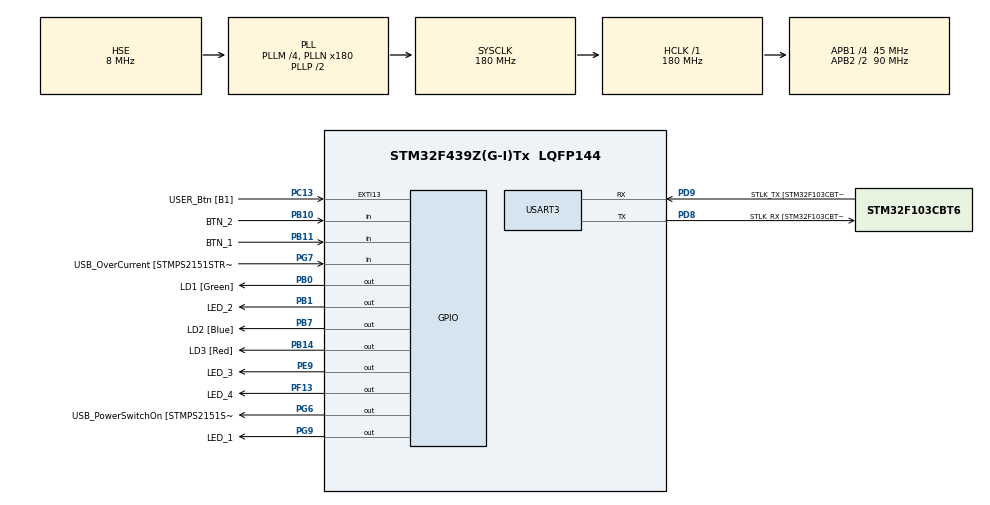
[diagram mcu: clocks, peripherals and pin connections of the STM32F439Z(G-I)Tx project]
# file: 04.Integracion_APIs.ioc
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Mcu.Family=STM32F4
Mcu.Name=STM32F439Z(G-I)Tx
Mcu.Package=LQFP144
NVIC.PriorityGroup=NVIC_PRIORITYGROUP_4
PA13.GPIO_Label=TMS
PA13.Mode=Serial_Wire
PA13.Signal=SYS_JTMS-SWDIO
PA14.GPIO_Label=TCK
PA14.Mode=Serial_Wire
PA14.Signal=SYS_JTCK-SWCLK
PB0.GPIO_Label=LD1 [Green]
PB0.Signal=GPIO_Output
PB1.GPIO_Label=LED_2
PB1.Signal=GPIO_Output
PB10.GPIO_Label=BTN_2
PB10.GPIO_PuPd=GPIO_PULLUP
PB10.Signal=GPIO_Input
PB11.GPIO_Label=BTN_1
PB11.GPIO_PuPd=GPIO_PULLUP
PB11.Signal=GPIO_Input
PB14.GPIO_Label=LD3 [Red]
PB14.Signal=GPIO_Output
PB7.GPIO_Label=LD2 [Blue]
PB7.Signal=GPIO_Output
PC13.GPIO_Label=USER_Btn [B1]
PC13.Signal=GPXTI13
PC14/OSC32_IN.Mode=LSE-External-Oscillator
PC14/OSC32_IN.Signal=RCC_OSC32_IN
PC15/OSC32_OUT.Mode=LSE-External-Oscillator
PC15/OSC32_OUT.Signal=RCC_OSC32_OUT
PD8.GPIO_Label=STLK_RX [STM32F103CBT6_PA3]
PD8.Mode=Asynchronous
PD8.Signal=USART3_TX
PD9.GPIO_Label=STLK_TX [STM32F103CBT6_PA2]
PD9.Mode=Asynchronous
PD9.Signal=USART3_RX
PE9.GPIO_Label=LED_3
PE9.Signal=GPIO_Output
PF13.GPIO_Label=LED_4
PF13.Signal=GPIO_Output
PG6.GPIO_Label=USB_PowerSwitchOn [STMPS2151STR_EN]
PG6.Signal=GPIO_Output
PG7.GPIO_Label=USB_OverCurrent [STMPS2151STR_FAULT]
PG7.Signal=GPIO_Input
PG9.GPIO_Label=LED_1
PG9.Signal=GPIO_Output
PH0/OSC_IN.GPIO_Label=MCO [STM32F103CBT6_PA8]
PH0/OSC_IN.Mode=HSE-External-Oscillator
PH0/OSC_IN.Signal=RCC_OSC_IN
PH1/OSC_OUT.Mode=HSE-External-Oscillator
PH1/OSC_OUT.Signal=RCC_OSC_OUT
ProjectManager.HeapSize=0x200
ProjectManager.StackSize=0x400
ProjectManager.TargetToolchain=STM32CubeIDE
RCC.48MHZClocksFreq_Value=51428571.428571425
RCC.AHBFreq_Value=180000000
RCC.APB1CLKDivider=RCC_HCLK_DIV4
RCC.APB1Freq_Value=45000000
RCC.APB1TimFreq_Value=90000000
RCC.APB2CLKDivider=RCC_HCLK_DIV2
RCC.APB2Freq_Value=90000000
RCC.APB2TimFreq_Value=180000000
RCC.CortexFreq_Value=180000000
RCC.HCLKFreq_Value=180000000
RCC.HSE_VALUE=8000000
RCC.HSI_VALUE=16000000
RCC.PLLM=4
RCC.PLLMUL=RCC_PLL_MUL9
RCC.PLLN=180
RCC.PLLQ=7
RCC.PLLSourceVirtual=RCC_PLLSOURCE_HSE
RCC.PRESCALERUSB=RCC_USBCLKSOURCE_PLL_DIV1_5
RCC.SYSCLKFreq_VALUE=180000000
RCC.SYSCLKSource=RCC_SYSCLKSOURCE_PLLCLK
RCC.SYSCLKSourceVirtual=RCC_SYSCLKSOURCE_PLLCLK
RCC.USBFreq_Value=48000000
RCC.VCOOutputFreq_Value=360000000
USART3.VirtualMode=VM_ASYNC
board=NUCLEO-F439ZI

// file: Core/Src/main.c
/* USER CODE BEGIN Header */
/**
 ******************************************************************************
 * @file           : main.c
 * @brief          : Main program body
 ******************************************************************************
 * @attention
 *
 * Copyright (c) 2026 STMicroelectronics.
 * All rights reserved.
 *
 * This software is licensed under terms that can be found in the LICENSE file
 * in the root directory of this software component.
 * If no LICENSE file comes with this software, it is provided AS-IS.
 *
 ******************************************************************************
 */
/* USER CODE END Header */
#include "main.h"

/* USER CODE BEGIN Includes */

#include "API_debounce.h"
#include "API_delay.h"
#include "API_led.h"
#include <string.h>
#include <stdbool.h>

/* USER CODE END Includes */

UART_HandleTypeDef huart3;

/* USER CODE BEGIN PV */

// Definimos los objetos LED (Abstracción Genérica)

// Definimos el arreglo de leds de la secuencia
led_t Leds[] = {
		{LED_1_GPIO_Port, LED_1_Pin, false}, 	//LED 1
		{LED_2_GPIO_Port, LED_2_Pin, false},	//LED 2
		{LED_3_GPIO_Port, LED_3_Pin, false},	//LED 3
		{LED_4_GPIO_Port, LED_4_Pin, false}		//LED 4
};

// Guardamos el tamaño del grupo para que sea dinámico
const uint8_t CANT_LEDS = sizeof(Leds) / sizeof(led_t);

led_t Leds_board[] = {
		{LD1_GPIO_Port,	LD1_Pin, false},
		{LD2_GPIO_Port, LD2_Pin, false},
		{LD3_GPIO_Port, LD3_Pin, false},
};

const uint8_t CANT_LEDS_BOARD = sizeof(Leds_board) / sizeof(led_t);

// Definimos el botón en PB11 (Active Low / Inverted = true)
button_t botones[] = {
		{BTN_1_GPIO_Port, BTN_1_Pin, true},     // Botón de Modo (PB11 - Active Low)
		{BTN_2_GPIO_Port, BTN_2_Pin, true}
};

// Cálculo dinámico de la cantidad de botones
const uint8_t CANT_BOTONES = sizeof(botones) / sizeof(button_t);

/* --- Definición de Escenas --- */
typedef enum {
	MODO_SYNC, MODO_CARRERA, MODO_REBOTE,
	MODO_STREAK, MODO_ALARMA, MODO_RANDOM,
	CANT_MODOS // Truco para resetear el contador automáticamente
} escena_t;

escena_t escenaActual = MODO_SYNC;
delay_t timerSecuencia;
uint8_t paso = 0;
bool direccion = true; // Para el efecto rebote

/* USER CODE END PV */

void SystemClock_Config(void);
static void MX_GPIO_Init(void);
static void MX_USART3_UART_Init(void);
/* USER CODE BEGIN PFP */

void Debug_Log(const char *msg);

/* USER CODE END PFP */

/* USER CODE BEGIN 0 */

/**
 * @brief Envía un mensaje por UART3 de forma simplificada.
 * @param msg Cadena de texto a transmitir.
 */
void Debug_Log(const char *msg) {
	HAL_UART_Transmit(&huart3, (uint8_t*)msg, strlen(msg), 100);
}

/* USER CODE END 0 */

int main(void)
{

	/* MCU Configuration--------------------------------------------------------*/

	/* Reset of all peripherals, Initializes the Flash interface and the Systick. */
	HAL_Init();

	/* Configure the system clock */
	SystemClock_Config();

	/* Initialize all configured peripherals */
	MX_GPIO_Init();
	MX_USART3_UART_Init();
	/* USER CODE BEGIN 2 */

	Debug_Log("\r\n==================================\r\n");
	Debug_Log("PROYECTO INTEGRADOR: SECUENCIADOR 6\r\n");
	Debug_Log("UTN FRT - Nivel Basico Finalizado\r\n");
	Debug_Log("==================================\r\n");
	/* Inicialización de Drivers API */
	for (uint8_t i = 0; i < CANT_BOTONES; i++) {
		debounceFSM_Init(&botones[i]);
	}
	delayInit(&timerSecuencia, 500);
	Debug_Log("Sistema Inicializado: Modo Reentrante Activo\r\n");

	/* USER CODE END 2 */

	/* Infinite loop */
	while (1)
	{

		/* USER CODE BEGIN 3 */

		/* 1. Actualizar TODAS las MEF de debounce */
		for (uint8_t i = 0; i < CANT_BOTONES; i++) {
			debounceFSM_Update(&botones[i]);
		}
		/* 2A. Procesar lógica del Botón de Modo (Índice 0) */
		if (readKey(&botones[0])) {
			escenaActual = (escenaActual + 1) % CANT_MODOS;
			paso = 0;
			direccion = true;
			LED_All_Off(Leds, CANT_LEDS);
			Debug_Log("\r\n--- CAMBIO DE MODO (Multinstancia) ---\r\n");
		}
		/* 2B. Procesar lógica del Botón de Modo (Índice 1) */
		if (readKey(&botones[1])) {
			LED_ToggleAll(Leds_board, CANT_LEDS_BOARD);
			Debug_Log("\r\n--- Toggle LEDS Placa ---\r\n");
		}

		/* 3. Lógica de las escenas (Timer no bloqueante) */
		if (delayRead(&timerSecuencia)) {
			switch (escenaActual) {

			case MODO_SYNC:
				delayWrite(&timerSecuencia, 500);
				LED_ToggleAll(Leds, CANT_LEDS);
				Debug_Log("MODO: Sincronizado - Toggle All\r\n");
				break;

			case MODO_CARRERA:
				delayWrite(&timerSecuencia, 150);
				LED_All_Off(Leds, CANT_LEDS);
				LED_On(&Leds[paso]);
				// Log que indica qué LED se enciende
				if(paso == 0) Debug_Log("CARRERA: LED Rojo\r\n");
				if(paso == 1) Debug_Log("CARRERA: LED Amarillo\r\n");
				if(paso == 2) Debug_Log("CARRERA: LED Verde\r\n");
				if(paso == 3) Debug_Log("CARRERA: LED Azul\r\n");

				paso = (paso + 1) % CANT_LEDS;
				break;

			case MODO_REBOTE:
				delayWrite(&timerSecuencia, 100);
				LED_All_Off(Leds, CANT_LEDS);
				LED_On(&Leds[paso]);
				Debug_Log("REBOTE: Posicion actual\r\n");
				if (direccion) paso++; else paso--;
				if (paso == (CANT_LEDS - 1) || paso == 0){
					direccion = !direccion;
					Debug_Log("REBOTE: Cambio de sentido\r\n");
				}
				break;

			case MODO_STREAK:
				delayWrite(&timerSecuencia, 200);
				if (paso < CANT_LEDS) {
					LED_On(&Leds[paso]);
					Debug_Log("STREAK: Agregando LED\r\n");
				} else {
					LED_All_Off(Leds, CANT_LEDS);
					Debug_Log("STREAK: Reset\r\n");
				}
				paso = (paso + 1) % (CANT_LEDS + 1);
				break;

			case MODO_ALARMA:
				delayWrite(&timerSecuencia, 80);
				LED_Toggle(&Leds[0]); // LED 1
				LED_Toggle(&Leds[3]); // LED 4
				LED_Off(&Leds[1]);    // LED 2
				LED_Off(&Leds[2]);    // LED 3
				Debug_Log("ALARMA: Strobe activo\r\n");
				break;

			case MODO_RANDOM:
				delayWrite(&timerSecuencia, 120);
				LED_All_Off(Leds, CANT_LEDS);
				uint8_t r = HAL_GetTick() % CANT_LEDS;
				LED_On(&Leds[r]);
				Debug_Log("RANDOM: LED Aleatorio\r\n");
				break;

			default:
				escenaActual = MODO_SYNC;
				break;
			}
		}
	}
	/* USER CODE END 3 */
}

void SystemClock_Config(void)
{
	RCC_OscInitTypeDef RCC_OscInitStruct = {0};
	RCC_ClkInitTypeDef RCC_ClkInitStruct = {0};

	/** Configure the main internal regulator output voltage
	 */
	__HAL_RCC_PWR_CLK_ENABLE();
	__HAL_PWR_VOLTAGESCALING_CONFIG(PWR_REGULATOR_VOLTAGE_SCALE1);

	/** Initializes the RCC Oscillators according to the specified parameters
	 * in the RCC_OscInitTypeDef structure.
	 */
	RCC_OscInitStruct.OscillatorType = RCC_OSCILLATORTYPE_HSE;
	RCC_OscInitStruct.HSEState = RCC_HSE_ON;
	RCC_OscInitStruct.PLL.PLLState = RCC_PLL_ON;
	RCC_OscInitStruct.PLL.PLLSource = RCC_PLLSOURCE_HSE;
	RCC_OscInitStruct.PLL.PLLM = 4;
	RCC_OscInitStruct.PLL.PLLN = 180;
	RCC_OscInitStruct.PLL.PLLP = RCC_PLLP_DIV2;
	RCC_OscInitStruct.PLL.PLLQ = 7;
	if (HAL_RCC_OscConfig(&RCC_OscInitStruct) != HAL_OK)
	{
		Error_Handler();
	}

	/** Activate the Over-Drive mode
	 */
	if (HAL_PWREx_EnableOverDrive() != HAL_OK)
	{
		Error_Handler();
	}

	/** Initializes the CPU, AHB and APB buses clocks
	 */
	RCC_ClkInitStruct.ClockType = RCC_CLOCKTYPE_HCLK|RCC_CLOCKTYPE_SYSCLK
			|RCC_CLOCKTYPE_PCLK1|RCC_CLOCKTYPE_PCLK2;
	RCC_ClkInitStruct.SYSCLKSource = RCC_SYSCLKSOURCE_PLLCLK;
	RCC_ClkInitStruct.AHBCLKDivider = RCC_SYSCLK_DIV1;
	RCC_ClkInitStruct.APB1CLKDivider = RCC_HCLK_DIV4;
	RCC_ClkInitStruct.APB2CLKDivider = RCC_HCLK_DIV2;

	if (HAL_RCC_ClockConfig(&RCC_ClkInitStruct, FLASH_LATENCY_5) != HAL_OK)
	{
		Error_Handler();
	}
}

static void MX_USART3_UART_Init(void)
{

	huart3.Instance = USART3;
	huart3.Init.BaudRate = 115200;
	huart3.Init.WordLength = UART_WORDLENGTH_8B;
	huart3.Init.StopBits = UART_STOPBITS_1;
	huart3.Init.Parity = UART_PARITY_NONE;
	huart3.Init.Mode = UART_MODE_TX_RX;
	huart3.Init.HwFlowCtl = UART_HWCONTROL_NONE;
	huart3.Init.OverSampling = UART_OVERSAMPLING_16;
	if (HAL_UART_Init(&huart3) != HAL_OK)
	{
		Error_Handler();
	}

}

static void MX_GPIO_Init(void)
{
	GPIO_InitTypeDef GPIO_InitStruct = {0};

	/* GPIO Ports Clock Enable */
	__HAL_RCC_GPIOC_CLK_ENABLE();
	__HAL_RCC_GPIOH_CLK_ENABLE();
	__HAL_RCC_GPIOB_CLK_ENABLE();
	__HAL_RCC_GPIOF_CLK_ENABLE();
	__HAL_RCC_GPIOE_CLK_ENABLE();
	__HAL_RCC_GPIOD_CLK_ENABLE();
	__HAL_RCC_GPIOG_CLK_ENABLE();
	__HAL_RCC_GPIOA_CLK_ENABLE();

	/*Configure GPIO pin Output Level */
	HAL_GPIO_WritePin(GPIOB, LD1_Pin|LED_2_Pin|LD3_Pin|LD2_Pin, GPIO_PIN_RESET);

	/*Configure GPIO pin Output Level */
	HAL_GPIO_WritePin(LED_4_GPIO_Port, LED_4_Pin, GPIO_PIN_RESET);

	/*Configure GPIO pin Output Level */
	HAL_GPIO_WritePin(LED_3_GPIO_Port, LED_3_Pin, GPIO_PIN_RESET);

	/*Configure GPIO pin Output Level */
	HAL_GPIO_WritePin(GPIOG, USB_PowerSwitchOn_Pin|LED_1_Pin, GPIO_PIN_RESET);

	/*Configure GPIO pin : USER_Btn_Pin */
	GPIO_InitStruct.Pin = USER_Btn_Pin;
	GPIO_InitStruct.Mode = GPIO_MODE_IT_RISING;
	GPIO_InitStruct.Pull = GPIO_NOPULL;
	HAL_GPIO_Init(USER_Btn_GPIO_Port, &GPIO_InitStruct);

	/*Configure GPIO pins : LD1_Pin LED_2_Pin LD3_Pin LD2_Pin */
	GPIO_InitStruct.Pin = LD1_Pin|LED_2_Pin|LD3_Pin|LD2_Pin;
	GPIO_InitStruct.Mode = GPIO_MODE_OUTPUT_PP;
	GPIO_InitStruct.Pull = GPIO_NOPULL;
	GPIO_InitStruct.Speed = GPIO_SPEED_FREQ_LOW;
	HAL_GPIO_Init(GPIOB, &GPIO_InitStruct);

	/*Configure GPIO pin : LED_4_Pin */
	GPIO_InitStruct.Pin = LED_4_Pin;
	GPIO_InitStruct.Mode = GPIO_MODE_OUTPUT_PP;
	GPIO_InitStruct.Pull = GPIO_NOPULL;
	GPIO_InitStruct.Speed = GPIO_SPEED_FREQ_LOW;
	HAL_GPIO_Init(LED_4_GPIO_Port, &GPIO_InitStruct);

	/*Configure GPIO pin : LED_3_Pin */
	GPIO_InitStruct.Pin = LED_3_Pin;
	GPIO_InitStruct.Mode = GPIO_MODE_OUTPUT_PP;
	GPIO_InitStruct.Pull = GPIO_NOPULL;
	GPIO_InitStruct.Speed = GPIO_SPEED_FREQ_LOW;
	HAL_GPIO_Init(LED_3_GPIO_Port, &GPIO_InitStruct);

	/*Configure GPIO pins : BTN_2_Pin BTN_1_Pin */
	GPIO_InitStruct.Pin = BTN_2_Pin|BTN_1_Pin;
	GPIO_InitStruct.Mode = GPIO_MODE_INPUT;
	GPIO_InitStruct.Pull = GPIO_PULLUP;
	HAL_GPIO_Init(GPIOB, &GPIO_InitStruct);

	/*Configure GPIO pins : USB_PowerSwitchOn_Pin LED_1_Pin */
	GPIO_InitStruct.Pin = USB_PowerSwitchOn_Pin|LED_1_Pin;
	GPIO_InitStruct.Mode = GPIO_MODE_OUTPUT_PP;
	GPIO_InitStruct.Pull = GPIO_NOPULL;
	GPIO_InitStruct.Speed = GPIO_SPEED_FREQ_LOW;
	HAL_GPIO_Init(GPIOG, &GPIO_InitStruct);

	/*Configure GPIO pin : USB_OverCurrent_Pin */
	GPIO_InitStruct.Pin = USB_OverCurrent_Pin;
	GPIO_InitStruct.Mode = GPIO_MODE_INPUT;
	GPIO_InitStruct.Pull = GPIO_NOPULL;
	HAL_GPIO_Init(USB_OverCurrent_GPIO_Port, &GPIO_InitStruct);

}

void Error_Handler(void)
{
	__disable_irq();
	while (1)
	{
	}
}
